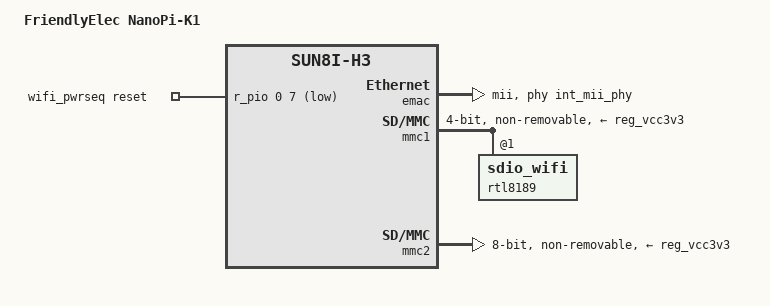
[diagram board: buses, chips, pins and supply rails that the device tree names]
/*
 * Copyright (C) 2016 Milo Kim <woogyom.kim@gmail.com>
 *
 * This file is dual-licensed: you can use it either under the terms
 * of the GPL or the X11 license, at your option. Note that this dual
 * licensing only applies to this file, and not this project as a
 * whole.
 *
 *  a) This file is free software; you can redistribute it and/or
 *     modify it under the terms of the GNU General Public License as
 *     published by the Free Software Foundation; either version 2 of the
 *     License, or (at your option) any later version.
 *
 *     This file is distributed in the hope that it will be useful,
 *     but WITHOUT ANY WARRANTY; without even the implied warranty of
 *     MERCHANTABILITY or FITNESS FOR A PARTICULAR PURPOSE.  See the
 *     GNU General Public License for more details.
 *
 * Or, alternatively,
 *
 *  b) Permission is hereby granted, free of charge, to any person
 *     obtaining a copy of this software and associated documentation
 *     files (the "Software"), to deal in the Software without
 *     restriction, including without limitation the rights to use,
 *     copy, modify, merge, publish, distribute, sublicense, and/or
 *     sell copies of the Software, and to permit persons to whom the
 *     Software is furnished to do so, subject to the following
 *     conditions:
 *
 *     The above copyright notice and this permission notice shall be
 *     included in all copies or substantial portions of the Software.
 *
 *     THE SOFTWARE IS PROVIDED "AS IS", WITHOUT WARRANTY OF ANY KIND,
 *     EXPRESS OR IMPLIED, INCLUDING BUT NOT LIMITED TO THE WARRANTIES
 *     OF MERCHANTABILITY, FITNESS FOR A PARTICULAR PURPOSE AND
 *     NONINFRINGEMENT. IN NO EVENT SHALL THE AUTHORS OR COPYRIGHT
 *     HOLDERS BE LIABLE FOR ANY CLAIM, DAMAGES OR OTHER LIABILITY,
 *     WHETHER IN AN ACTION OF CONTRACT, TORT OR OTHERWISE, ARISING
 *     FROM, OUT OF OR IN CONNECTION WITH THE SOFTWARE OR THE USE OR
 *     OTHER DEALINGS IN THE SOFTWARE.
 */

#include "sun8i-h3-nanopi.dtsi"

/ {
	model = "FriendlyElec NanoPi-K1";
	compatible = "friendlyelec,nanopi-k1", "allwinner,sun8i-h3";

    wifi_pwrseq: wifi_pwrseq {
        compatible = "mmc-pwrseq-simple";
        pinctrl-names = "default";
        pinctrl-0 = <&wifi_en_npi>;
        reset-gpios = <&r_pio 0 7 GPIO_ACTIVE_LOW>; /* PL7 */
        post-power-on-delay-ms = <200>;
    };
};

&r_pio {
    wifi_en_npi: wifi_en_pin {
        pins = "PL7";
        function = "gpio_out";
    };
};

&emac {
    phy-handle = <&int_mii_phy>;
    phy-mode = "mii";
    allwinner,leds-active-low;
    status = "okay";
};

&mmc1 {
	pinctrl-names = "default";
	pinctrl-0 = <&mmc1_pins_a>;
	vmmc-supply = <&reg_vcc3v3>;
	vqmmc-supply = <&reg_vcc3v3>;
	mmc-pwrseq = <&wifi_pwrseq>;
	bus-width = <4>;
	non-removable;
	status = "okay";

    /*
     * Explicitly define the sdio device, so that we can add an ethernet
     * alias for it (which e.g. makes u-boot set a mac-address).
     */
    rtl8189: sdio_wifi@1 {
        reg = <1>;
    };
};

&mmc2 {
    pinctrl-names = "default";
    pinctrl-0 = <&mmc2_8bit_pins>;
    vmmc-supply = <&reg_vcc3v3>;
    bus-width = <8>;
    non-removable;
    cap-mmc-hw-reset;
    status = "okay";
};

&mmc2_8bit_pins {
    /* Increase drive strength for DDR modes */
    drive-strength = <40>;
    /* eMMC is missing pull-ups */
    bias-pull-up;
};

&reg_usb0_vbus {
    status = "disabled";
};

&usb_otg {
    status = "disabled";
};

&usbphy {
    status = "disabled";
};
